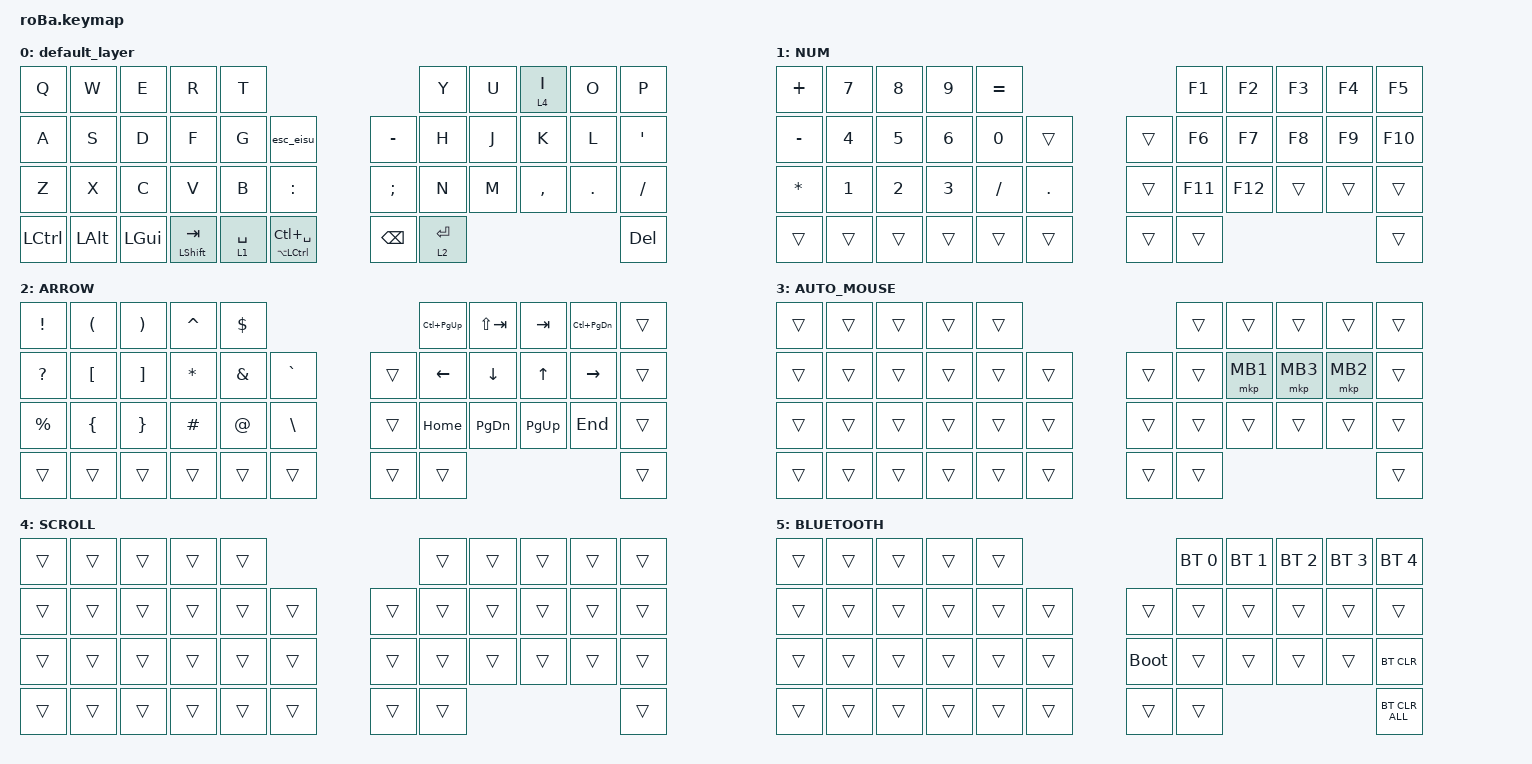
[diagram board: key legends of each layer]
#include <input/processors.dtsi>
#include <behaviors.dtsi>
#include <dt-bindings/zmk/bt.h>
#include <dt-bindings/zmk/keys.h>
#include <dt-bindings/zmk/pointing.h>

#define MOUSE 3

// マウスキーを押したらタイムアウトを10秒間延長する
// ※ 3 は AutoMouseLayer

&mkp_input_listener { input-processors = <&zip_temp_layer 3 10000>; };

&mt {
    flavor = "balanced";
    quick-tap-ms = <200>;
};

&lt { quick-tap-ms = <200>; };

&trackball {
    // マウス層は zip_temp_layer のみ（automouse-layer は require-prior-idle と併用不可）

    scroll-layers = <4>;

    // arrows {
    //     layers = <3>;
    //     bindings =
    //         <&kp RIGHT_ARROW>,
    //         <&kp LEFT_ARROW>,
    //         <&kp UP_ARROW>,
    //         <&kp DOWN_ARROW>;
    //     tick = <10>;
    //     wait-ms = <5>;
    //     tap-ms = <5>;
    // };
};

/ {
    combos {
        compatible = "zmk,combos";

        to_bt_layer {
            bindings = <&mo 5>;
            key-positions = <34 35 36>;
        };
    };

    macros {
        exit_AML: exit_AML {
            compatible = "zmk,behavior-macro";
            wait-ms = <0>;
            tap-ms = <0>;
            #binding-cells = <0>;
            bindings = <&tog_off MOUSE>;
            label = "exit_AML";
        };

        kp_exit_AML: kp_exit_AML {
            compatible = "zmk,behavior-macro-one-param";
            wait-ms = <0>;
            tap-ms = <0>;
            #binding-cells = <1>;
            bindings = <&macro_param_1to1 &kp MACRO_PLACEHOLDER &exit_AML>;
            label = "KP_exit_AML";
        };

        // 英数化してから ESC:
        // - macOS: LANG2 = 英数（IME オフ相当）
        // - Windows: MS IME でも LANG2 = ImeOff（半角英数）: Keyboard Japan - ImeOn / ImeOff Implementation
        // - Windows で「英字（US）キーボード」設定のとき LANG2 だけ届かないことがあるため、その補助として
        //   F22 を続けて送る。MS 系 IME の「キーとタッチのカスタマイズ」で F22 に「IME オフ」等を割り当てる。
        //   未割当の F22 は大抵無視される。macOS で F22 が邪魔なら F キーを差し替え、または LANG2 のみに戻す。

        esc_eisu: esc_eisu {
            compatible = "zmk,behavior-macro";
            #binding-cells = <0>;
            label = "ESC_EISU";
            wait-ms = <10>;
            tap-ms = <5>;
            bindings = <&kp LANG2 &kp ESC>;
        };
    };

    behaviors {
        tog_off: toggle_layer_off {
            compatible = "zmk,behavior-toggle-layer";
            #binding-cells = <1>;
            display-name = "Toggle Layer Off";
            toggle-mode = "off";
        };

        mt_exit_AML_on_tap: mt_exit_AML_on_tap {
            compatible = "zmk,behavior-hold-tap";
            label = "MT_exit_AML_ON_TAP";
            bindings = <&kp>, <&kp_exit_AML>;

            #binding-cells = <2>;
            tapping-term-ms = <200>;
            flavor = "balanced";
            quick-tap-ms = <200>;
        };
    };

    keymap {
        compatible = "zmk,keymap";

        default_layer {
            bindings = <
&kp Q      &kp W         &kp E         &kp R                           &kp T                                                    &kp Y        &kp U  &lt 4 I    &kp O    &kp P
&kp A      &kp S         &kp D         &kp F                           &kp G        &esc_eisu                    &kp MINUS      &kp H        &kp J  &kp K      &kp L    &kp SQT
&kp Z      &kp X         &kp C         &kp V                           &kp B        &kp COLON                    &kp SEMICOLON  &kp N        &kp M  &kp COMMA  &kp DOT  &kp SLASH
&kp LCTRL  &kp LEFT_ALT  &kp LEFT_GUI  &mt_exit_AML_on_tap LSHIFT TAB  &lt 1 SPACE  &mt LA(LCTRL) LC(SPACE)      &kp BACKSPACE  &lt 2 ENTER                             &kp DEL
            >;
        };

        NUM {
            bindings = <
&kp PLUS      &kp N7  &kp N8  &kp N9  &kp EQUAL                       &kp F1   &kp F2   &kp F3  &kp F4  &kp F5
&kp MINUS     &kp N4  &kp N5  &kp N6  &kp N0     &trans       &trans  &kp F6   &kp F7   &kp F8  &kp F9  &kp F10
&kp ASTERISK  &kp N1  &kp N2  &kp N3  &kp SLASH  &kp DOT      &trans  &kp F11  &kp F12  &trans  &trans  &trans
&trans        &trans  &trans  &trans  &trans     &trans       &trans  &trans                            &trans
            >;
        };

        ARROW {
            bindings = <
&kp EXCLAMATION  &kp LEFT_PARENTHESIS  &kp RIGHT_PARENTHESIS  &kp CARET     &kp DOLLAR                                &kp LC(PAGE_UP)  &kp LS(TAB)     &kp TAB       &kp LC(PAGE_DOWN)  &trans
&kp QUESTION     &kp LEFT_BRACKET      &kp RIGHT_BRACKET      &kp ASTERISK  &kp AMPERSAND  &kp GRAVE          &trans  &kp LEFT         &kp DOWN_ARROW  &kp UP_ARROW  &kp RIGHT_ARROW    &trans
&kp PERCENT      &kp LEFT_BRACE        &kp RIGHT_BRACE        &kp HASH      &kp AT_SIGN    &kp BACKSLASH      &trans  &kp HOME         &kp PAGE_DOWN   &kp PAGE_UP   &kp END            &trans
&trans           &trans                &trans                 &trans        &trans         &trans             &trans  &trans                                                            &trans
            >;
        };

        AUTO_MOUSE {
            bindings = <
&trans  &trans  &trans  &trans  &trans                      &trans  &trans    &trans    &trans    &trans
&trans  &trans  &trans  &trans  &trans  &trans      &trans  &trans  &mkp MB1  &mkp MB3  &mkp MB2  &trans
&trans  &trans  &trans  &trans  &trans  &trans      &trans  &trans  &trans    &trans    &trans    &trans
&trans  &trans  &trans  &trans  &trans  &trans      &trans  &trans                                &trans
            >;
        };

        SCROLL {
            bindings = <
&trans  &trans  &trans  &trans  &trans                      &trans  &trans  &trans  &trans  &trans
&trans  &trans  &trans  &trans  &trans  &trans      &trans  &trans  &trans  &trans  &trans  &trans
&trans  &trans  &trans  &trans  &trans  &trans      &trans  &trans  &trans  &trans  &trans  &trans
&trans  &trans  &trans  &trans  &trans  &trans      &trans  &trans                          &trans
            >;
        };

        BLUETOOTH {
            bindings = <
&trans  &trans  &trans  &trans  &trans                           &bt BT_SEL 0  &bt BT_SEL 1  &bt BT_SEL 2  &bt BT_SEL 3  &bt BT_SEL 4
&trans  &trans  &trans  &trans  &trans  &trans      &trans       &trans        &trans        &trans        &trans        &trans
&trans  &trans  &trans  &trans  &trans  &trans      &bootloader  &trans        &trans        &trans        &trans        &bt BT_CLR
&trans  &trans  &trans  &trans  &trans  &trans      &trans       &trans                                                  &bt BT_CLR_ALL
            >;
        };
    };
};
